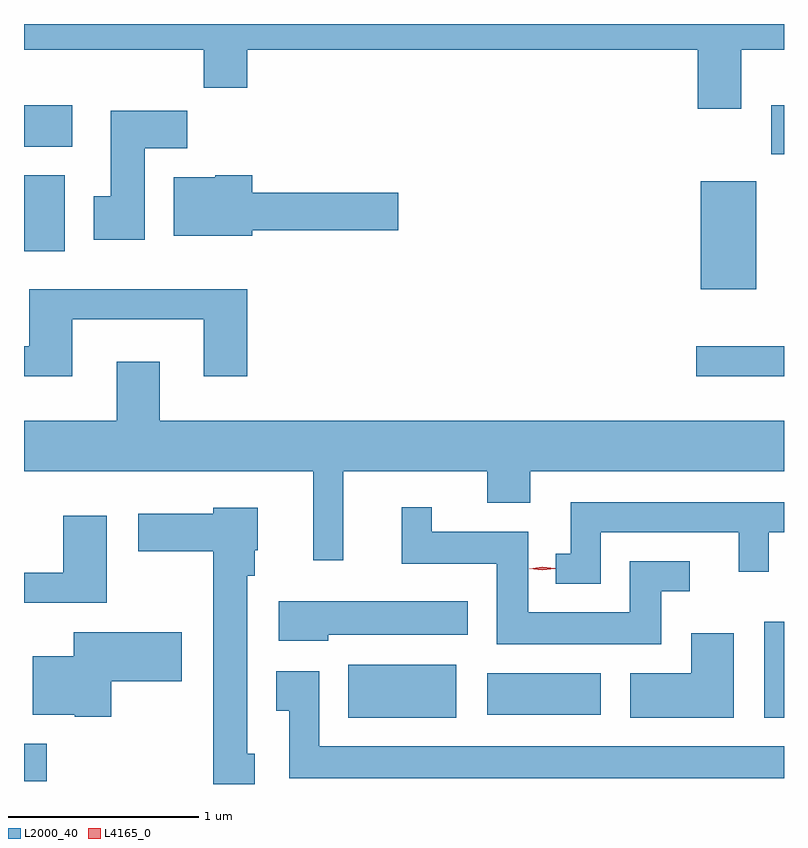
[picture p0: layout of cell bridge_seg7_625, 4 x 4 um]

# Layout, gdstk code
import gdstk
lib = gdstk.Library(unit=1e-6, precision=1e-09)
def R(c, l, rs):  # rectangles x0, y0, x1, y1
    for r in rs: c.add(gdstk.rectangle(r[:2], r[2:], *l))
def P(c, l, *ps):  # polygons
    for p in ps: c.add(gdstk.Polygon(p, *l))
L2000_40 = (2000, 40)
L4165_0 = (4165, 0)

bridge_seg7_625 = lib.new_cell('bridge_seg7_625')
R(bridge_seg7_625, L2000_40, [(637.204,1708.246,637.324,1708.444), (638.911,1708.581,639.479,1708.859), (641.101,1708.581,641.204,1709.084), (639.641,1708.596,640.239,1708.814), (640.743,1710.376,641.204,1710.534), (640.766,1710.836,641.059,1711.404), (637.204,1711.036,637.419,1711.434), (641.136,1711.546,641.204,1711.804), (637.204,1711.586,637.459,1711.804)])
P(bridge_seg7_625, L2000_40, [(640.979,1712.096),(641.204,1712.096),(641.204,1712.231),(637.204,1712.231),(637.204,1712.096),(638.151,1712.096),(638.151,1711.896),(638.379,1711.896),(638.379,1712.096),(640.751,1712.096),(640.751,1711.786),(640.979,1711.786)],
  [(637.839,1711.576),(638.064,1711.576),(638.064,1711.774),(637.661,1711.774),(637.661,1711.324),(637.571,1711.324),(637.571,1711.096),(637.839,1711.096)],
  [(638.404,1711.146),(639.174,1711.146),(639.174,1711.344),(638.404,1711.344),(638.404,1711.434),(638.21,1711.434),(638.21,1711.424),(637.991,1711.424),(637.991,1711.116),(638.404,1711.116)],
  [(637.459,1710.676),(638.151,1710.676),(638.151,1710.376),(638.379,1710.376),(638.379,1710.834),(637.231,1710.834),(637.231,1710.534),(637.204,1710.534),(637.204,1710.376),(637.459,1710.376)],
  [(638.884,1709.876),(639.641,1709.876),(639.641,1709.711),(639.869,1709.711),(639.869,1709.876),(641.204,1709.876),(641.204,1710.144),(637.919,1710.144),(637.919,1710.454),(637.691,1710.454),(637.691,1710.144),(637.204,1710.144),(637.204,1709.876),(638.726,1709.876),(638.726,1709.408),(638.884,1709.408)],
  [(640.239,1709.556),(640.966,1709.556),(640.966,1709.348),(641.124,1709.348),(641.124,1709.556),(641.204,1709.556),(641.204,1709.714),(640.081,1709.714),(640.081,1709.444),(640.003,1709.444),(640.003,1709.286),(640.239,1709.286)],
  [(640.559,1709.246),(640.708,1709.246),(640.708,1709.404),(640.391,1709.404),(640.391,1709.134),(639.859,1709.134),(639.859,1709.559),(639.349,1709.559),(639.349,1709.688),(639.191,1709.688),(639.191,1709.391),(639.691,1709.391),(639.691,1708.966),(640.559,1708.966)],
  [(638.419,1708.389),(638.379,1708.389),(638.379,1709.326),(638.419,1709.326),(638.419,1709.46),(638.434,1709.46),(638.434,1709.684),(638.201,1709.684),(638.201,1709.654),(637.806,1709.654),(637.806,1709.456),(638.201,1709.456),(638.201,1708.231),(638.419,1708.231)],
  [(637.639,1709.644),(637.411,1709.644),(637.411,1709.344),(637.204,1709.344),(637.204,1709.186),(637.639,1709.186)],
  [(638.804,1709.016),(639.539,1709.016),(639.539,1709.194),(638.546,1709.194),(638.546,1708.986),(638.804,1708.986)],
  [(637.664,1708.771),(638.034,1708.771),(638.034,1709.029),(637.466,1709.029),(637.466,1708.904),(637.251,1708.904),(637.251,1708.596),(637.47,1708.596),(637.47,1708.586),(637.664,1708.586)],
  [(640.939,1709.024),(640.716,1709.024),(640.716,1708.814),(640.396,1708.814),(640.396,1708.581),(640.939,1708.581)],
  [(641.204,1708.429),(638.759,1708.429),(638.759,1708.824),(638.531,1708.824),(638.531,1708.616),(638.601,1708.616),(638.601,1708.261),(641.204,1708.261)])
P(bridge_seg7_625, L4165_0, [(639.932,1709.355),(639.862,1709.364),(639.862,1709.364),(639.862,1709.365),(639.932,1709.374),(640.001,1709.366),(640.001,1709.365),(640.001,1709.364)])

lib.write_gds('bridge_seg7_625.gds')
